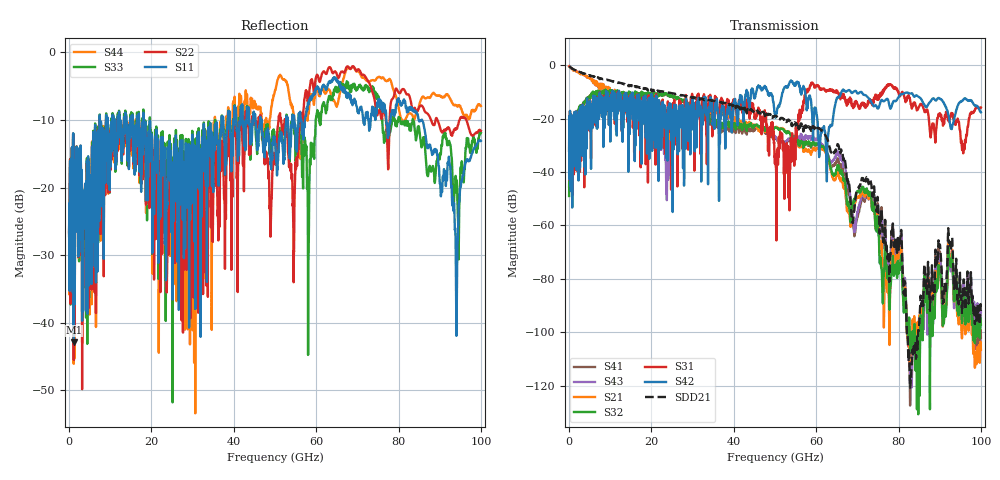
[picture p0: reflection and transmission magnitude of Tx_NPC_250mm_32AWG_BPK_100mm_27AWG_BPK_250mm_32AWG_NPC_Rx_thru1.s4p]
! Info: Touchstone file created by Circ.  Input file=Tx_NPC_250mm_32AWG_BPK_100mm_27AWG_BPK_250mm_32AWG_NPC_Rx.circ
# Hz S RI R 50
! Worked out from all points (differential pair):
!   10000 points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, 10 MHz to 100 GHz, reference 50 ohm
!   strongest paths, dB at 10 MHz, 25.01 GHz, 50.01 GHz, 75.01 GHz, 100 GHz:
!     S42: -32.0, -21.9, -18.4, -16.3, -17.6
!     S31: -32.0, -23.4, -35.7, -12.0, -15.8
!     S32: -49.0, -11.2, -23.3, -59.1, -97.2
!     S21: -0.4, -24.9, -23.4, -56.9, -106.5
!     S43: -0.4, -27.5, -26.6, -54.1, -92.4
!     S41: -45.5, -11.3, -27.0, -53.2, -101.9
!   taken as a pair (ports 1,3 in; 2,4 out), SDD21 dB: -0.4, -10.5, -18.9, -51.4, -92.1
!   lowest |S11| = -42.9 dB at 1.17 GHz (marker M1), VSWR 1.01, Z = 49.3 - j0.181 ohm
!   |S11| at or under -10 dB: start of sweep to 7.422 GHz; 18.1 GHz to 37.04 GHz (18.94 GHz wide, 68.7 % of centre); 85.71 GHz to end of sweep (the widest 3 of 46)
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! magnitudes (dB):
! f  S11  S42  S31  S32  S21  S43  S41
! 10 MHz  -26.6  -32.0  -32.0  -49.0  -0.4  -0.4  -45.5
! 1.17 GHz  -42.9  -24.2  -24.1  -22.4  -1.7  -1.7  -22.7
! 23.79 GHz  -22.5  -21.5  -20.6  -10.7  -29.0  -42.1  -10.8
! 51.79 GHz  -13.4  -10.4  -27.2  -23.8  -23.5  -28.4  -28.5
! 72.96 GHz  -11.1  -12.7  -13.6  -48.1  -49.0  -48.1  -49.3
! 77.38 GHz  -12.6  -12.8  -7.3  -79.4  -84.4  -75.4  -74.0
! 100 GHz  -13.1  -17.6  -15.8  -97.2  -106.5  -92.4  -101.9
